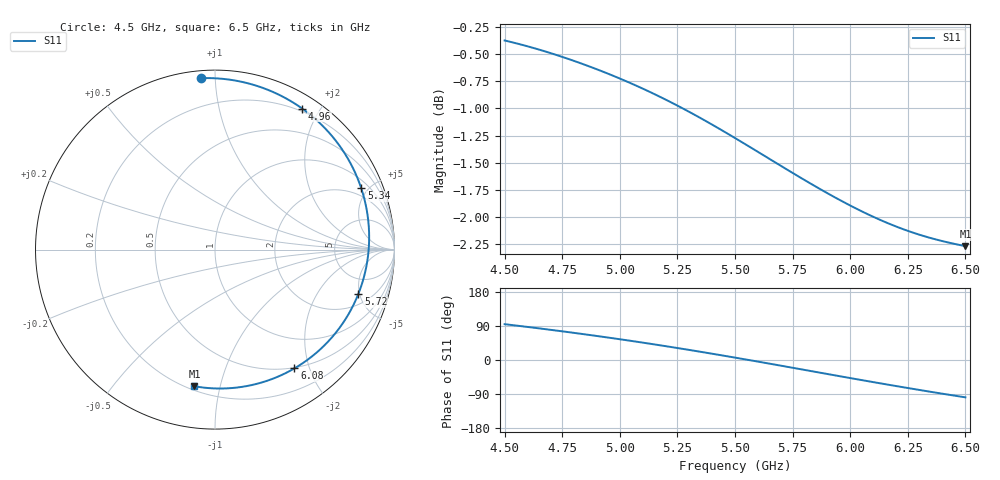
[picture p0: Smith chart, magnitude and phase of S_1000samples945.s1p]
! TOUCHSTONE file generated by CST MICROWAVE STUDIO
! Date and time: Sat Oct 29 21:28:35 2022
! Project name: L.cst
! Parameters = {Di=1.27; Epsilon_r=1.56; InnerDiameter=1.27; Length=2; Lf=10; Lg=60; OuterConductorThickness=0.2921; OuterDiameter=3.6; Wf=3; Wp=41.2; de=1.5; df=6.8; g=0.8; gx=3.49613; gy=3.86963; h=2.34; hf=1.524; px=10.7065; py=10.7905; w=9.7; wx=7.21034; wy=6.92091}
! Header version: 2018
! Port assignment regex: !\s*Touchstone port\s*([0-9]+)\s*=\s*(CST MWS port|CST DS port)\s*([0-9]+|Zmin|Zmax)\s*\(\"(.*)\"\)(\s*mode\s*([0-9]+))?.*
! Touchstone port assignment:
! Touchstone port 1 = CST MWS port 1 ("")
# GHz S DB R 50
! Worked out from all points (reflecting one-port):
!   101 points, 4.5 GHz to 6.5 GHz, reference 50 ohm
!   lowest |S11| = -2.3 dB at 6.5 GHz (marker M1), VSWR 7.69, Z = 11.2 - j41.8 ohm
!   phase of S11 starts at 95 deg and turns -193 deg over the sweep
!   S11 on the Smith chart (normalised r, x): 4.5 GHz: 0.04, +0.92; 4.96 GHz: 0.17, +1.78; 5.34 GHz: 1.46, +4.53; 5.72 GHz: 2.95, -4.86; 6.08 GHz: 0.49, -1.77; 6.5 GHz: 0.22, -0.84
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4.5  -0.37 94.5
4.58  -0.41 88.7
4.64  -0.45 84.2
4.76  -0.53 74.9
4.86  -0.61 66.8
4.96  -0.69 58.3
5  -0.72 54.8
5.12  -0.84 43.9
5.2  -0.92 36.4
5.26  -0.98 30.6
5.34  -1.08 22.7
5.42  -1.17 14.6
5.5  -1.27 6.3
5.6  -1.40 -4.3
5.66  -1.48 -10.7
5.72  -1.56 -17.2
5.76  -1.61 -21.6
5.82  -1.68 -28.1
5.88  -1.76 -34.7
5.94  -1.83 -41.2
6  -1.90 -47.7
6.08  -1.98 -56.2
6.16  -2.06 -64.6
6.26  -2.14 -74.9
6.32  -2.18 -81.0
6.38  -2.21 -87.0
6.44  -2.24 -92.8
6.5  -2.27 -98.6
